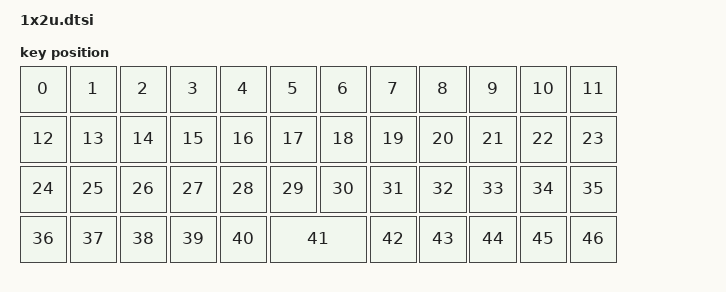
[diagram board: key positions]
#include <layouts/common/ortho_4x12/position_map.dtsi>
#include <physical_layouts.dtsi>

/ {
    layout_ortho_4x12_1x2u: layout_ortho_4x12_1x2u {
        compatible = "zmk,physical-layout";
        display-name = "40% 1x2U Space";

        keys  //                     w   h    x    y     rot    rx    ry
            = <&key_physical_attrs 100 100    0    0       0     0     0>
            , <&key_physical_attrs 100 100  100    0       0     0     0>
            , <&key_physical_attrs 100 100  200    0       0     0     0>
            , <&key_physical_attrs 100 100  300    0       0     0     0>
            , <&key_physical_attrs 100 100  400    0       0     0     0>
            , <&key_physical_attrs 100 100  500    0       0     0     0>
            , <&key_physical_attrs 100 100  600    0       0     0     0>
            , <&key_physical_attrs 100 100  700    0       0     0     0>
            , <&key_physical_attrs 100 100  800    0       0     0     0>
            , <&key_physical_attrs 100 100  900    0       0     0     0>
            , <&key_physical_attrs 100 100 1000    0       0     0     0>
            , <&key_physical_attrs 100 100 1100    0       0     0     0>
            , <&key_physical_attrs 100 100    0  100       0     0     0>
            , <&key_physical_attrs 100 100  100  100       0     0     0>
            , <&key_physical_attrs 100 100  200  100       0     0     0>
            , <&key_physical_attrs 100 100  300  100       0     0     0>
            , <&key_physical_attrs 100 100  400  100       0     0     0>
            , <&key_physical_attrs 100 100  500  100       0     0     0>
            , <&key_physical_attrs 100 100  600  100       0     0     0>
            , <&key_physical_attrs 100 100  700  100       0     0     0>
            , <&key_physical_attrs 100 100  800  100       0     0     0>
            , <&key_physical_attrs 100 100  900  100       0     0     0>
            , <&key_physical_attrs 100 100 1000  100       0     0     0>
            , <&key_physical_attrs 100 100 1100  100       0     0     0>
            , <&key_physical_attrs 100 100    0  200       0     0     0>
            , <&key_physical_attrs 100 100  100  200       0     0     0>
            , <&key_physical_attrs 100 100  200  200       0     0     0>
            , <&key_physical_attrs 100 100  300  200       0     0     0>
            , <&key_physical_attrs 100 100  400  200       0     0     0>
            , <&key_physical_attrs 100 100  500  200       0     0     0>
            , <&key_physical_attrs 100 100  600  200       0     0     0>
            , <&key_physical_attrs 100 100  700  200       0     0     0>
            , <&key_physical_attrs 100 100  800  200       0     0     0>
            , <&key_physical_attrs 100 100  900  200       0     0     0>
            , <&key_physical_attrs 100 100 1000  200       0     0     0>
            , <&key_physical_attrs 100 100 1100  200       0     0     0>
            , <&key_physical_attrs 100 100    0  300       0     0     0>
            , <&key_physical_attrs 100 100  100  300       0     0     0>
            , <&key_physical_attrs 100 100  200  300       0     0     0>
            , <&key_physical_attrs 100 100  300  300       0     0     0>
            , <&key_physical_attrs 100 100  400  300       0     0     0>
            , <&key_physical_attrs 200 100  500  300       0     0     0>
            , <&key_physical_attrs 100 100  700  300       0     0     0>
            , <&key_physical_attrs 100 100  800  300       0     0     0>
            , <&key_physical_attrs 100 100  900  300       0     0     0>
            , <&key_physical_attrs 100 100 1000  300       0     0     0>
            , <&key_physical_attrs 100 100 1100  300       0     0     0>
            ;
    };
};

&layouts_common_ortho_4x12_position_map {
    layout_ortho_4x12_1x2u {
        physical-layout = <&layout_ortho_4x12_1x2u>;
        positions
            = < 0  1  2  3  4  5  6  7  8  9 10 11>
            , <12 13 14 15 16 17 18 19 20 21 22 23>
            , <24 25 26 27 28 29 30 31 32 33 34 35>
            , <36 37 38 39 40 41 47 42 43 44 45 46>
            ;
    };
};
